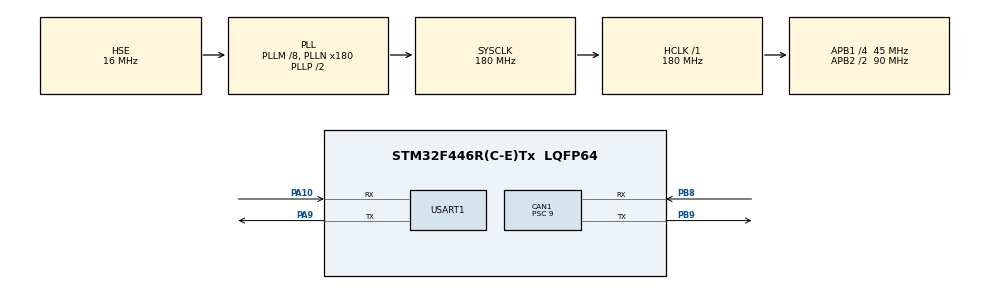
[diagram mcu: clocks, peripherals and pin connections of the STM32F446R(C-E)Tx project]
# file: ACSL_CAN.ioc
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CAN1.BS1=CAN_BS1_3TQ
CAN1.CalculateTimeBit=1000
CAN1.CalculateTimeQuantum=200.0
CAN1.Prescaler=9
Mcu.Family=STM32F4
Mcu.Name=STM32F446R(C-E)Tx
Mcu.Package=LQFP64
NVIC.CAN1_RX0_IRQn=true\:0\:0\:false\:false\:true\:true
NVIC.PriorityGroup=NVIC_PRIORITYGROUP_4
NVIC.RCC_IRQn=true\:0\:0\:false\:false\:true\:true
NVIC.TIM6_DAC_IRQn=true\:0\:0\:false\:false\:true\:true
NVIC.TIM7_IRQn=true\:0\:0\:false\:false\:true\:true
PA10.Mode=Asynchronous
PA10.Signal=USART1_RX
PA13.Mode=Serial_Wire
PA13.Signal=SYS_JTMS-SWDIO
PA14.Mode=Serial_Wire
PA14.Signal=SYS_JTCK-SWCLK
PA9.Mode=Asynchronous
PA9.Signal=USART1_TX
PB8.Mode=Master
PB8.Signal=CAN1_RX
PB9.Mode=Master
PB9.Signal=CAN1_TX
PH0-OSC_IN.Mode=HSE-External-Oscillator
PH0-OSC_IN.Signal=RCC_OSC_IN
PH1-OSC_OUT.Mode=HSE-External-Oscillator
PH1-OSC_OUT.Signal=RCC_OSC_OUT
ProjectManager.HeapSize=0x200
ProjectManager.StackSize=0x400
ProjectManager.TargetToolchain=TrueSTUDIO
RCC.AHBFreq_Value=180000000
RCC.APB1CLKDivider=RCC_HCLK_DIV4
RCC.APB1Freq_Value=45000000
RCC.APB1TimFreq_Value=90000000
RCC.APB2CLKDivider=RCC_HCLK_DIV2
RCC.APB2Freq_Value=90000000
RCC.APB2TimFreq_Value=180000000
RCC.CortexFreq_Value=180000000
RCC.HCLKFreq_Value=180000000
RCC.HSE_VALUE=16000000
RCC.PLLM=8
RCC.PLLN=180
RCC.PLLSourceVirtual=RCC_PLLSOURCE_HSE
RCC.SYSCLKFreq_VALUE=180000000
RCC.SYSCLKSource=RCC_SYSCLKSOURCE_PLLCLK
RCC.USBFreq_Value=180000000
RCC.VCOOutputFreq_Value=360000000
TIM6.Period=999
TIM6.Prescaler=89
TIM7.Period=4000
TIM7.Prescaler=900
USART1.VirtualMode=VM_ASYNC
VP_TIM6_VS_ClockSourceINT.Mode=Enable_Timer
VP_TIM7_VS_ClockSourceINT.Mode=Enable_Timer
board=_00_capstone

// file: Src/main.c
/**
 ******************************************************************************
 * File Name          : main.c
 * Description        : Main program body
 ******************************************************************************
 ** This notice applies to any and all portions of this file
 * that are not between comment pairs USER CODE BEGIN and
 * USER CODE END. Other portions of this file, whether
 * inserted by the user or by software development tools
 * are owned by their respective copyright owners.
 *
 * COPYRIGHT(c) 2018 STMicroelectronics
 *
 * Redistribution and use in source and binary forms, with or without modification,
 * are permitted provided that the following conditions are met:
 *   1. Redistributions of source code must retain the above copyright notice,
 *      this list of conditions and the following disclaimer.
 *   2. Redistributions in binary form must reproduce the above copyright notice,
 *      this list of conditions and the following disclaimer in the documentation
 *      and/or other materials provided with the distribution.
 *   3. Neither the name of STMicroelectronics nor the names of its contributors
 *      may be used to endorse or promote products derived from this software
 *      without specific prior written permission.
 *
 * THIS SOFTWARE IS PROVIDED BY THE COPYRIGHT HOLDERS AND CONTRIBUTORS "AS IS"
 * AND ANY EXPRESS OR IMPLIED WARRANTIES, INCLUDING, BUT NOT LIMITED TO, THE
 * IMPLIED WARRANTIES OF MERCHANTABILITY AND FITNESS FOR A PARTICULAR PURPOSE ARE
 * DISCLAIMED. IN NO EVENT SHALL THE COPYRIGHT HOLDER OR CONTRIBUTORS BE LIABLE
 * FOR ANY DIRECT, INDIRECT, INCIDENTAL, SPECIAL, EXEMPLARY, OR CONSEQUENTIAL
 * DAMAGES (INCLUDING, BUT NOT LIMITED TO, PROCUREMENT OF SUBSTITUTE GOODS OR
 * SERVICES; LOSS OF USE, DATA, OR PROFITS; OR BUSINESS INTERRUPTION) HOWEVER
 * CAUSED AND ON ANY THEORY OF LIABILITY, WHETHER IN CONTRACT, STRICT LIABILITY,
 * OR TORT (INCLUDING NEGLIGENCE OR OTHERWISE) ARISING IN ANY WAY OUT OF THE USE
 * OF THIS SOFTWARE, EVEN IF ADVISED OF THE POSSIBILITY OF SUCH DAMAGE.
 *
 ******************************************************************************
 */

#include "main.h"
#include "stm32f4xx_hal.h"

/* USER CODE BEGIN Includes */
#include "MW-AHRSv1.h"
#include "math.h"

#define AX_WRITE_DATA  3

/* USER CODE END Includes */

CAN_HandleTypeDef hcan1;

TIM_HandleTypeDef htim6;
TIM_HandleTypeDef htim7;

UART_HandleTypeDef huart1;

/* USER CODE BEGIN PV */
/* Private variables ---------------------------------------------------------*/
CanTxMsgTypeDef CantxMessage;
CanRxMsgTypeDef CanrxMessage;

MW_AHRS ahrs_obj = { 0, };

uint32_t mainCounter = 0;
uint32_t tim6Counter = 0;
uint32_t tim7Counter = 0;

uint8_t sendData[100] = { 0, };

typedef struct _ax12 {
	uint8_t id;
	uint8_t reg;
	uint16_t data;
} AX12;

float yaw_data;
float roll_data;
float pitch_data;

AX12 motor1;
AX12 motor2;
AX12 motor3;

/* USER CODE END PV */

void SystemClock_Config(void);
static void MX_GPIO_Init(void);
static void MX_CAN1_Init(void);
static void MX_TIM6_Init(void);
static void MX_TIM7_Init(void);
static void MX_USART1_UART_Init(void);

/* USER CODE BEGIN PFP */
/* Private function prototypes -----------------------------------------------*/
void can_tx(void);
void can_init_user(void);

void ax12_SetRegister(uint8_t id, uint8_t regstart, uint16_t data);

void mw_ahrsv1_trans(void);
void mw_ahrsv1_rcv(void);

/* USER CODE END PFP */

int main(void) {

	/* MCU Configuration----------------------------------------------------------*/

	/* Reset of all peripherals, Initializes the Flash interface and the Systick. */
	HAL_Init();

	/* Configure the system clock */
	SystemClock_Config();

	/* Initialize all configured peripherals */
	MX_GPIO_Init();
	MX_CAN1_Init();
	MX_TIM6_Init();
	MX_TIM7_Init();
	MX_USART1_UART_Init();

	/* USER CODE BEGIN 2 */

	can_init_user();
	mw_ahrsv1_trans();

	HAL_TIM_Base_Start_IT(&htim6);
	HAL_TIM_Base_Start_IT(&htim7);

	HAL_CAN_Receive_IT(&hcan1, CAN_FIFO0);
	/* USER CODE END 2 */

	/* Infinite loop */
	while (1) {

		/* USER CODE BEGIN 3 */

		mainCounter++;
		HAL_Delay(1);

		yaw_data = ahrs_obj.e_yaw + 150;
		if(yaw_data <= 0){
			yaw_data = 0;
		}
		else if(yaw_data >= 300){
			yaw_data = 300;
		}

		roll_data = ahrs_obj.e_roll + 150;
		if(roll_data <= 0){
			roll_data = 0;
		}
		else if(roll_data >= 300){
			roll_data = 300;
		}

		pitch_data = ahrs_obj.e_pitch + 150;
		if(pitch_data <= 0){
			pitch_data = 0;
		}
		else if(pitch_data >= 300){
			pitch_data = 300;
		}

		ax12_SetRegister(1, 30, 1023-(yaw_data*3.4));
		HAL_UART_Transmit(&huart1, sendData, 9, 0xFF);
		ax12_SetRegister(1, 32, 150);
		HAL_UART_Transmit(&huart1, sendData, 9, 0xFF);

		ax12_SetRegister(2, 30, 1023-(roll_data*3.4));
		HAL_UART_Transmit(&huart1, sendData, 9, 0xFF);
		ax12_SetRegister(2, 32, 150);
		HAL_UART_Transmit(&huart1, sendData, 9, 0xFF);

		ax12_SetRegister(3, 30, 1023-(pitch_data*3.4));
		HAL_UART_Transmit(&huart1, sendData, 9, 0xFF);
		ax12_SetRegister(3, 32, 150);
		HAL_UART_Transmit(&huart1, sendData, 9, 0xFF);

		/*ax12_SetRegister(2, 30, 512);
		HAL_UART_Transmit(&huart1, sendData, 9, 10);

		ax12_SetRegister(2, 32, 150);
		HAL_UART_Transmit(&huart1, sendData, 9, 10);

		HAL_Delay(1000);

		ax12_SetRegister(2, 30, 712);
		HAL_UART_Transmit(&huart1, sendData, 9, 10);

		ax12_SetRegister(2, 32, 80);
		HAL_UART_Transmit(&huart1, sendData, 9, 10);

		HAL_Delay(1000);*/

	}
	/* USER CODE END 3 */

}

/** System Clock Configuration
 */
void SystemClock_Config(void) {

	RCC_OscInitTypeDef RCC_OscInitStruct;
	RCC_ClkInitTypeDef RCC_ClkInitStruct;

	/**Configure the main internal regulator output voltage
	 */
	__HAL_RCC_PWR_CLK_ENABLE()
	;

	__HAL_PWR_VOLTAGESCALING_CONFIG(PWR_REGULATOR_VOLTAGE_SCALE1);

	/**Initializes the CPU, AHB and APB busses clocks
	 */
	RCC_OscInitStruct.OscillatorType = RCC_OSCILLATORTYPE_HSE;
	RCC_OscInitStruct.HSEState = RCC_HSE_ON;
	RCC_OscInitStruct.PLL.PLLState = RCC_PLL_ON;
	RCC_OscInitStruct.PLL.PLLSource = RCC_PLLSOURCE_HSE;
	RCC_OscInitStruct.PLL.PLLM = 8;
	RCC_OscInitStruct.PLL.PLLN = 180;
	RCC_OscInitStruct.PLL.PLLP = RCC_PLLP_DIV2;
	RCC_OscInitStruct.PLL.PLLQ = 2;
	RCC_OscInitStruct.PLL.PLLR = 2;
	if (HAL_RCC_OscConfig(&RCC_OscInitStruct) != HAL_OK) {
		_Error_Handler(__FILE__, __LINE__);
	}

	/**Activate the Over-Drive mode
	 */
	if (HAL_PWREx_EnableOverDrive() != HAL_OK) {
		_Error_Handler(__FILE__, __LINE__);
	}

	/**Initializes the CPU, AHB and APB busses clocks
	 */
	RCC_ClkInitStruct.ClockType = RCC_CLOCKTYPE_HCLK | RCC_CLOCKTYPE_SYSCLK
			| RCC_CLOCKTYPE_PCLK1 | RCC_CLOCKTYPE_PCLK2;
	RCC_ClkInitStruct.SYSCLKSource = RCC_SYSCLKSOURCE_PLLCLK;
	RCC_ClkInitStruct.AHBCLKDivider = RCC_SYSCLK_DIV1;
	RCC_ClkInitStruct.APB1CLKDivider = RCC_HCLK_DIV4;
	RCC_ClkInitStruct.APB2CLKDivider = RCC_HCLK_DIV2;

	if (HAL_RCC_ClockConfig(&RCC_ClkInitStruct, FLASH_LATENCY_5) != HAL_OK) {
		_Error_Handler(__FILE__, __LINE__);
	}

	/**Configure the Systick interrupt time
	 */
	HAL_SYSTICK_Config(HAL_RCC_GetHCLKFreq() / 1000);

	/**Configure the Systick
	 */
	HAL_SYSTICK_CLKSourceConfig(SYSTICK_CLKSOURCE_HCLK);

	/* SysTick_IRQn interrupt configuration */
	HAL_NVIC_SetPriority(SysTick_IRQn, 0, 0);
}

/* CAN1 init function */
static void MX_CAN1_Init(void) {

	hcan1.Instance = CAN1;
	hcan1.Init.Prescaler = 9;
	hcan1.Init.Mode = CAN_MODE_NORMAL;
	hcan1.Init.SJW = CAN_SJW_1TQ;
	hcan1.Init.BS1 = CAN_BS1_3TQ;
	hcan1.Init.BS2 = CAN_BS2_1TQ;
	hcan1.Init.TTCM = DISABLE;
	hcan1.Init.ABOM = DISABLE;
	hcan1.Init.AWUM = DISABLE;
	hcan1.Init.NART = DISABLE;
	hcan1.Init.RFLM = DISABLE;
	hcan1.Init.TXFP = DISABLE;
	if (HAL_CAN_Init(&hcan1) != HAL_OK) {
		_Error_Handler(__FILE__, __LINE__);
	}

}

/* TIM6 init function */
static void MX_TIM6_Init(void) {

	TIM_MasterConfigTypeDef sMasterConfig;

	htim6.Instance = TIM6;
	htim6.Init.Prescaler = 89;
	htim6.Init.CounterMode = TIM_COUNTERMODE_UP;
	htim6.Init.Period = 999;
	if (HAL_TIM_Base_Init(&htim6) != HAL_OK) {
		_Error_Handler(__FILE__, __LINE__);
	}

	sMasterConfig.MasterOutputTrigger = TIM_TRGO_RESET;
	sMasterConfig.MasterSlaveMode = TIM_MASTERSLAVEMODE_DISABLE;
	if (HAL_TIMEx_MasterConfigSynchronization(&htim6, &sMasterConfig)
			!= HAL_OK) {
		_Error_Handler(__FILE__, __LINE__);
	}

}

/* TIM7 init function */
static void MX_TIM7_Init(void) {

	TIM_MasterConfigTypeDef sMasterConfig;

	htim7.Instance = TIM7;
	htim7.Init.Prescaler = 900;
	htim7.Init.CounterMode = TIM_COUNTERMODE_UP;
	htim7.Init.Period = 4000;
	if (HAL_TIM_Base_Init(&htim7) != HAL_OK) {
		_Error_Handler(__FILE__, __LINE__);
	}

	sMasterConfig.MasterOutputTrigger = TIM_TRGO_RESET;
	sMasterConfig.MasterSlaveMode = TIM_MASTERSLAVEMODE_DISABLE;
	if (HAL_TIMEx_MasterConfigSynchronization(&htim7, &sMasterConfig)
			!= HAL_OK) {
		_Error_Handler(__FILE__, __LINE__);
	}

}

/* USART1 init function */
static void MX_USART1_UART_Init(void) {

	huart1.Instance = USART1;
	huart1.Init.BaudRate = 1000000;
	huart1.Init.WordLength = UART_WORDLENGTH_8B;
	huart1.Init.StopBits = UART_STOPBITS_1;
	huart1.Init.Parity = UART_PARITY_NONE;
	huart1.Init.Mode = UART_MODE_TX_RX;
	huart1.Init.HwFlowCtl = UART_HWCONTROL_NONE;
	huart1.Init.OverSampling = UART_OVERSAMPLING_16;
	if (HAL_UART_Init(&huart1) != HAL_OK) {
		_Error_Handler(__FILE__, __LINE__);
	}

}

/** Configure pins as
 * Analog
 * Input
 * Output
 * EVENT_OUT
 * EXTI
 */
static void MX_GPIO_Init(void) {

	/* GPIO Ports Clock Enable */
	__HAL_RCC_GPIOH_CLK_ENABLE()
	;
	__HAL_RCC_GPIOA_CLK_ENABLE()
	;
	__HAL_RCC_GPIOB_CLK_ENABLE()
	;

}

/* USER CODE BEGIN 4 */

void ax12_SetRegister(uint8_t id, uint8_t regstart, uint16_t data) {
	sendData[0] = 0xFF;
	sendData[1] = 0xFF;
	sendData[2] = id;
	sendData[3] = 5;
	sendData[4] = AX_WRITE_DATA;
	sendData[5] = regstart;
	sendData[6] = (data & 0xFF);
	sendData[7] = (data & 0xFF00) >> 8;
	sendData[8] = (0xFF
			- ((id + 5 + AX_WRITE_DATA + regstart + (data & 0xFF)
					+ ((data & 0xFF00) >> 8)) % 256));

}

void ax12_set_data(AX12 *data) {

}

void HAL_CAN_RxCpltCallback(CAN_HandleTypeDef* hcan) {
	for (int i = 0; i < 8; i++) {
		ahrs_obj.can_read_data[i] = CanrxMessage.Data[i];
	}

	mw_ahrs_input_data(&ahrs_obj);

	if (HAL_CAN_Receive_IT(hcan, CAN_FIFO0) != HAL_OK) {
		Error_Handler();
	}

}
void mw_ahrsv1_trans(void) {
	int i = 0;
	mw_ahrs_set_period(&ahrs_obj, 1);
	HAL_CAN_Transmit(&hcan1, 10);
	mw_ahrs_set_data_type(&ahrs_obj, 0, 0, 1, 1);
	HAL_CAN_Transmit(&hcan1, 10);

	for (i = 0; i < 8; i++) {
		CantxMessage.Data[i] = ahrs_obj.can_write_data[i];
	}

	if (HAL_CAN_Transmit(&hcan1, 10) != HAL_OK) {
		Error_Handler();
	}
	HAL_GPIO_WritePin(GPIOA, GPIO_PIN_12, GPIO_PIN_SET);
}
void can_init_user(void) {
	CAN_FilterConfTypeDef canFilter;

	hcan1.pTxMsg = &CantxMessage;
	hcan1.pRxMsg = &CanrxMessage;

	canFilter.FilterNumber = 0;
	canFilter.FilterMode = CAN_FILTERMODE_IDMASK;
	canFilter.FilterScale = CAN_FILTERSCALE_32BIT;
	canFilter.FilterIdHigh = 0x0000 << 5;
	canFilter.FilterIdLow = 0x0000;
	canFilter.FilterMaskIdHigh = 0x0000 << 5;
	canFilter.FilterMaskIdLow = 0x0000;
	canFilter.FilterFIFOAssignment = 0;
	canFilter.FilterActivation = ENABLE;
	canFilter.BankNumber = 0;

	if (HAL_CAN_ConfigFilter(&hcan1, &canFilter) != HAL_OK) {
		Error_Handler();
	}

	CantxMessage.StdId = 0x01;
	CantxMessage.ExtId = 0x01;
	CantxMessage.RTR = CAN_RTR_DATA;
	CantxMessage.IDE = CAN_ID_STD;
	CantxMessage.DLC = 8;
}

void HAL_TIM_PeriodElapsedCallback(TIM_HandleTypeDef *htim) {
	if (htim->Instance == TIM6) {
		tim6Counter++;
		//	ax12_SetRegister( 1, 30, 512);
		//	ax12_SetRegister(1,32, 80);
	} else if (htim->Instance == TIM7) {
		tim7Counter++;
	}
}

void HAL_UART_TxCpltCallback(UART_HandleTypeDef *huart) {
	if (huart->Instance == USART1) {

		//sendCompleteflag = 1
	}
}

void HAL_UART_RxCpltCallback(UART_HandleTypeDef *huart) {
	if (huart->Instance == USART1) {
		//
	}
}
/* USER CODE END 4 */

void _Error_Handler(char * file, int line) {
	while (1) {
	}
}

/************************ (C) COPYRIGHT STMicroelectronics *****END OF FILE****/
